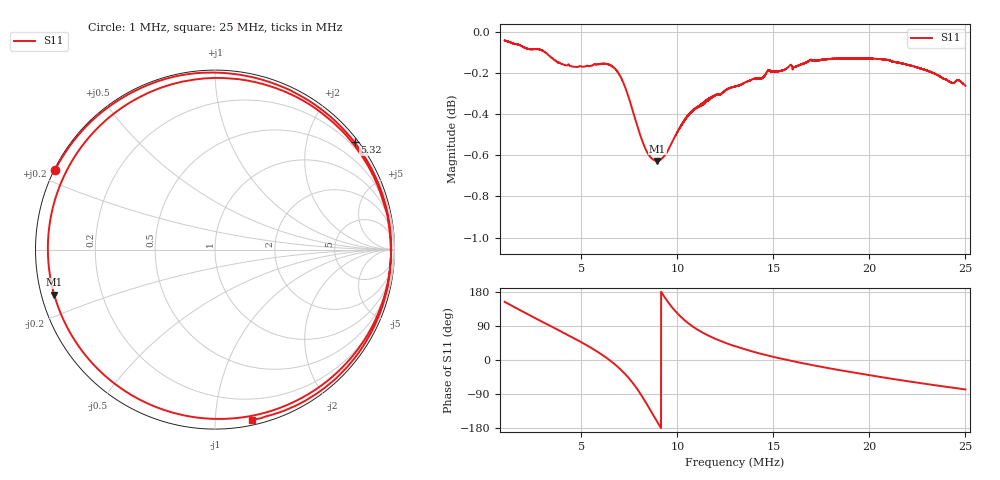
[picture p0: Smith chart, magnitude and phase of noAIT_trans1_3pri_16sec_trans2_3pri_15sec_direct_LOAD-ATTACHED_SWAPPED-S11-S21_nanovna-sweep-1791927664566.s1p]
! NanoVNA Web complex sweep
! Processing: unaveraged complex samples; linear segment spacing; no smoothing
# Hz S RI R 50
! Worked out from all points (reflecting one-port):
!   5050 points, 1 MHz to 25 MHz, reference 50 ohm
!   lowest |S11| = -0.6 dB at 8.961 MHz (marker M1), VSWR 27.71, Z = 1.84 - j6.86 ohm
!   phase of S11 starts at 154 deg and turns -591 deg over the sweep
!   S11 on the Smith chart (normalised r, x): 1 MHz: 0.00, +0.23; 5.32 MHz: 0.09, +2.94; 25 MHz: 0.04, -1.24
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1000000  -0.8913 0.4428
1855540  -0.6403 0.758
2592255  -0.3471 0.9276
3276687  -0.0455 0.9861
4003896  0.2744 0.943
4664563  0.5467 0.8141
5320477  0.7775 0.5986
6275830  0.9754 0.1156
7003039  0.897 -0.3844
7549634  0.582 -0.7648
7849073  0.2862 -0.9067
8105735  -0.0277 -0.9422
8500234  -0.5283 -0.7698
8742637  -0.7678 -0.5266
8961275  -0.8959 -0.2508
9170407  -0.931 0.0258
9393798  -0.8846 0.2997
9697990  -0.7255 0.5971
1.000218e7  -0.5127 0.7945
1.058205e7  -0.1049 0.9486
1.13758e7  0.32 0.9066
1.210776e7  0.5813 0.771
1.300132e7  0.7821 0.5735
1.428939e7  0.9307 0.2875
1.600047e7  0.9777 -0.0514
1.899961e7  0.8383 -0.5176
2.199875e7  0.548 -0.8146
2.49979e7  0.2059 -0.9482
